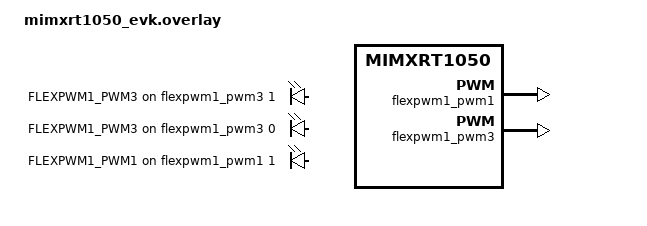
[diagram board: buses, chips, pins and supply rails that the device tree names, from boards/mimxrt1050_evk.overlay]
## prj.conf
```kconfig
CONFIG_PRINTK=y
CONFIG_SHELL=y
CONFIG_KERNEL_SHELL=y
CONFIG_THREAD_MONITOR=y
CONFIG_INIT_STACKS=y
CONFIG_THREAD_NAME=y
CONFIG_DEVICE_SHELL=y
CONFIG_BOOT_BANNER=n
CONFIG_LOG=y
CONFIG_PWM=y
CONFIG_SPI=y
CONFIG_MAX7219=y
CONFIG_DISPLAY=y
```

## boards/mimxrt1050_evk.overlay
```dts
/ {
    pwnleds {
        compatible = "pwm-leds";
        r_led_pwm: pwm_r {
            pwms = <&flexpwm1_pwm3 1>;
            label = "FLEXPWM1_PWM3";
        };
        g_led_pwm: pwm_g {
            pwms = <&flexpwm1_pwm3 0>;
            label = "FLEXPWM1_PWM3";
        };
        b_led_pwm: pwm_b {
            pwms = <&flexpwm1_pwm1 1>;
            label = "FLEXPWM1_PWM1";
        };
    };
 };

&flexpwm1_pwm1 {
    status = "okay";
};

&flexpwm1_pwm3 {
    status = "okay";
};

&lpspi1 {
    status = "disabled";
    maxdisplay: mymax@0 {
        compatible = "maxim,max7219";
        status = "okay";
        height = <8>;
        width  = <8>;
        spi-max-frequency = <10000000>;
        label = "maxim_max7219";
        reg = <0>;
    };
};
```

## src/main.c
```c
/*
 *  Assignment2: RTES CSE 522
 *  Done By: Hrishikeh Dadhich
 *  ASU ID: 1222306930
 */

#include <zephyr.h>
#include <device.h>
#include <devicetree.h>
#include <drivers/gpio.h>
#include <sys/util.h>
#include <sys/printk.h>
#include <shell/shell.h>
#include <shell/shell_uart.h>
#include <version.h>
#include <stdlib.h>
#include <drivers/pwm.h>
#include <devicetree/pwms.h>
#include <fsl_iomuxc.h>
#include <drivers/display.h>
#include <drivers/spi.h>

#define DISP_NODE DT_PROP(DT_NODELABEL(maxdisplay), label)

/*  Flag to blink display driver    */
bool blink_flag = false;

/*  Data input array for lebm command   */
uint8_t input[8];
uint16_t input_16[8];  

/*  Init array to configure the display matrix  */
uint16_t init_array[5] = {0x0f00, 0x0900, 0x0a0f, 0x0b07, 0x0c01};
/*  Clear array to erase the display matrix */
uint16_t clear_array[8] = {0x0100, 0x0200,0x0300,0x0400,0x0500,0x0600,0x0700,0x0800};

struct spi_buf tx;
struct spi_buf_set tx_bufs;

/*  Pointers to device drivers  */
const struct device *pwmb0 = NULL;
const struct device *pwmb1 = NULL;
const struct device *max_display = NULL;

#define DEBUG 

#if defined(DEBUG) 
	#define DPRINTK(fmt, args...) printk("DEBUG: %s():%d: " fmt, \
   		 __func__, __LINE__, ##args)
#else
 	#define DPRINTK(fmt, args...) /* do nothing if not defined*/
#endif

/*  PWM Settings    */
#define LED_PWM_RED DT_NODELABEL(r_led_pwm)

#define LED0_LABEL DT_PROP(LED_PWM_RED, label)
#define LED0_CH  DT_PWMS_CHANNEL(LED_PWM_RED)

#define LED_PWM_GREEN DT_NODELABEL(g_led_pwm)

#define LED1_LABEL DT_PROP(LED_PWM_GREEN, label)
#define LED1_CH  DT_PWMS_CHANNEL(LED_PWM_GREEN)

#define LED_PWM_BLUE DT_NODELABEL(b_led_pwm)

#define LED2_LABEL DT_PROP(LED_PWM_BLUE, label)
#define LED2_CH  DT_PWMS_CHANNEL(LED_PWM_BLUE)

/*  Function to set IOMUX for SPI Pins  */
void set_iomux_spi()
{
    /*  SPI */
    /*  SPI CS */
	IOMUXC_SetPinMux(IOMUXC_GPIO_SD_B0_01_LPSPI1_PCS0, 0);

	IOMUXC_SetPinConfig(IOMUXC_GPIO_SD_B0_01_LPSPI1_PCS0,
			    IOMUXC_SW_PAD_CTL_PAD_PUE(1) |
			    IOMUXC_SW_PAD_CTL_PAD_PKE_MASK |
			    IOMUXC_SW_PAD_CTL_PAD_SPEED(2) |
			    IOMUXC_SW_PAD_CTL_PAD_DSE(6));
    /*  SPI OUT */
	IOMUXC_SetPinMux(IOMUXC_GPIO_SD_B0_02_LPSPI1_SDO, 0);

	IOMUXC_SetPinConfig(IOMUXC_GPIO_SD_B0_02_LPSPI1_SDO,
			    IOMUXC_SW_PAD_CTL_PAD_PUE(1) |
			    IOMUXC_SW_PAD_CTL_PAD_PKE_MASK |
			    IOMUXC_SW_PAD_CTL_PAD_SPEED(2) |
			    IOMUXC_SW_PAD_CTL_PAD_DSE(6));
    /*  SPI CLK */
	IOMUXC_SetPinMux(IOMUXC_GPIO_SD_B0_00_LPSPI1_SCK, 0);

	IOMUXC_SetPinConfig(IOMUXC_GPIO_SD_B0_00_LPSPI1_SCK,
			    IOMUXC_SW_PAD_CTL_PAD_PUE(1) |
			    IOMUXC_SW_PAD_CTL_PAD_PKE_MASK |
			    IOMUXC_SW_PAD_CTL_PAD_SPEED(2) |
			    IOMUXC_SW_PAD_CTL_PAD_DSE(6));

}

/*  Function to set configure max7219 display driver    */
void config_display_driver()
{
    const struct display_driver_api *api = (struct display_driver_api *)max_display->api;
    
    api->write(max_display, 0, 5, NULL, (void *)init_array);
}

/*  Function to clear max7219 display driver    */
void clear_display_matrix()
{
    const struct display_driver_api *api = (struct display_driver_api *)max_display->api;
    
    api->write(max_display, 0, 8, NULL, (void *)clear_array);
}

/*  Function to set IOMUX for PWM Pins  */
void set_iomux_pwm()
{
    /* FOR PWM */
    /*  RED */
	IOMUXC_SetPinMux(IOMUXC_GPIO_AD_B0_11_FLEXPWM1_PWMB03, 0);

	IOMUXC_SetPinConfig(IOMUXC_GPIO_AD_B0_11_FLEXPWM1_PWMB03,
			    IOMUXC_SW_PAD_CTL_PAD_PUE(1) |
			    IOMUXC_SW_PAD_CTL_PAD_PKE_MASK |
			    IOMUXC_SW_PAD_CTL_PAD_SPEED(2) |
			    IOMUXC_SW_PAD_CTL_PAD_DSE(6));

	IOMUXC_SetPinMux(IOMUXC_GPIO_AD_B0_10_FLEXPWM1_PWMA03, 0);

    /*  Green    */
	IOMUXC_SetPinConfig(IOMUXC_GPIO_AD_B0_10_FLEXPWM1_PWMA03,
			    IOMUXC_SW_PAD_CTL_PAD_PUE(1) |
			    IOMUXC_SW_PAD_CTL_PAD_PKE_MASK |
			    IOMUXC_SW_PAD_CTL_PAD_SPEED(2) |
			    IOMUXC_SW_PAD_CTL_PAD_DSE(6));

    /*  Blue    */
	IOMUXC_SetPinMux(IOMUXC_GPIO_SD_B0_03_FLEXPWM1_PWMB01, 0);

	IOMUXC_SetPinConfig(IOMUXC_GPIO_SD_B0_03_FLEXPWM1_PWMB01,
			    IOMUXC_SW_PAD_CTL_PAD_PUE(1) |
			    IOMUXC_SW_PAD_CTL_PAD_PKE_MASK |
			    IOMUXC_SW_PAD_CTL_PAD_SPEED(2) |
			    IOMUXC_SW_PAD_CTL_PAD_DSE(6));


}

/*  Function to test RGB using PWM  */
void test_rgb_pwm()
{
    int count = 0;
    int ret = 0;
    /*  RED */
    while (count <= 100)
    {
        ret = pwm_pin_set_cycles(pwmb0, LED0_CH, 100, count, PWM_POLARITY_NORMAL);
        if (ret != 0)
        {
            DPRINTK("Error in setting cycles, ret = %d\r\n", ret);
        }
        count = count + 20;
        k_msleep(500);
    }
    ret = pwm_pin_set_cycles(pwmb0, LED0_CH, 100, 0, PWM_POLARITY_NORMAL);
    if (ret != 0)
    {
        DPRINTK("Error in setting cycles, ret = %d\r\n", ret);
    }
    count = 0;
    /*  Green */
    while (count <= 100)
    {
        ret = pwm_pin_set_cycles(pwmb0, LED1_CH, 100, count, PWM_POLARITY_NORMAL);
        if (ret != 0)
        {
            DPRINTK("Error in setting cycles, ret = %d\r\n", ret);
        }
        count = count + 20;
        k_msleep(500);
    }
    ret = pwm_pin_set_cycles(pwmb0, LED1_CH, 100, 0, PWM_POLARITY_NORMAL);
    if (ret != 0)
    {
        DPRINTK("Error in setting cycles, ret = %d\r\n", ret);
    }
    count = 0;
    /*  Blue */
    while (count <= 100)
    {
        ret = pwm_pin_set_cycles(pwmb1, LED2_CH, 100, count, PWM_POLARITY_NORMAL);
        if (ret != 0)
        {
            DPRINTK("Error in setting cycles, ret = %d\r\n", ret);
        }
        count = count + 20;
        k_msleep(500);
    }
    ret = pwm_pin_set_cycles(pwmb1, LED2_CH, 100, 0, PWM_POLARITY_NORMAL);
    if (ret != 0)
    {
        DPRINTK("Error in setting cycles, ret = %d\r\n", ret);
    }
}

/*  Callback functioo for RGB   */
static int rgb(const struct shell *shell, size_t argc, char **argv)
{
	int input[3];
	int j = 1;
	for (int i = 0; i < argc - 1; i++)
	{
		input[i] = atoi(argv[j]);
		j++;
	}
    DPRINTK("%d %d %d\r\n", input[0], input[1], input[2]);
    pwm_pin_set_cycles(pwmb0, LED0_CH, 100, input[0], PWM_POLARITY_NORMAL);
    pwm_pin_set_cycles(pwmb0, LED1_CH, 100, input[1], PWM_POLARITY_NORMAL);
    pwm_pin_set_cycles(pwmb1, LED2_CH, 100, input[2], PWM_POLARITY_NORMAL);
    return 0;
}

/*  Callback functioo for LEDM   */
static int ledm(const struct shell *shell, size_t argc, char **argv)
{
    const struct display_driver_api *api = (struct display_driver_api *)max_display->api;
	int j = 2;
	int row = strtol(argv[1], NULL, 16);
    /*  Increment row as user input is 0 index  */
    row++;
    /*  Parse the command line and convert string to integer    */
	for (int i = 0; i < argc - 2; i++)
	{
		input[i] = (int)strtol(argv[j], NULL, 16);
        j++;
	}
    /*  Merge row and data: 0x<row><val>    */
    for (int i = 0; i < argc - 2; i++)
    {
        input_16[i] = 0;
        input_16[i] = input_16[i] | (row + i);
        input_16[i] = input_16[i] << 8;
        input_16[i] = input_16[i] | input[i];
    }
    api->write(max_display, row, argc - 2, NULL, (void *)input_16);
    return 0;
}

/*  Callback functioo for LEDB   */
static int ledb(const struct shell *shell, size_t argc, char **argv)
{
    const struct display_driver_api *api = (struct display_driver_api *)max_display->api;
	int input = atoi(argv[1]);
	if (input == 1)
	{
        /*  Set global flag to start the blinking   */
        blink_flag = true;
	}
	else
	{
        /*  Un-set global flag to stop the blinking   */
        blink_flag = false;
        api->blanking_off(max_display);
	}
    return 0;
}

/*  Creating subcommands (level 1 command) array for command p2    */
SHELL_STATIC_SUBCMD_SET_CREATE(
	sub_cmd,
	SHELL_CMD(rgb, NULL, "PWM Led Intensity command.", rgb),
	SHELL_CMD(ledm, NULL, "Turning on LED matrix command.", ledm),
	SHELL_CMD(ledb, NULL, "Blinking the pattern on Matrix", ledb),
	SHELL_SUBCMD_SET_END);

/*  Creating root (level 0) command "p2" without a handler  */
SHELL_CMD_REGISTER(p2, &sub_cmd, "List of commands", NULL);

void main(void)
{

    set_iomux_spi();
    /*  DISPLAY binding */
    DPRINTK("Module name is %s\r\n", DISP_NODE);
	max_display=device_get_binding(DISP_NODE);
	if (!max_display) {
		DPRINTK("error 1\n");
		return;
	}
    config_display_driver();
    clear_display_matrix();
    
    set_iomux_pwm();
    
    /*  Red and Green PWM    */
    pwmb0=device_get_binding(LED0_LABEL);
	if (!pwmb0) {
		DPRINTK("error 2\n");
		return;
	}
    /*  Blue PWM    */
	pwmb1=device_get_binding(LED2_LABEL);
	if (!pwmb1) {
		DPRINTK("error 3\n");
		return;
	}
    /*  Unit test for PWM LED   */
    //test_rgb_pwm();
    
    /*  Seperate blinking loop so that uart loop keep on working for more input */
    const struct display_driver_api *api = (struct display_driver_api *)max_display->api;
    while (1)
    {
        bool flag = true;
        while (blink_flag)
        {
            if (flag)
                api->blanking_on(max_display);
            else
                api->blanking_off(max_display);
            k_msleep(1000);
            flag = !flag;
        }
        k_msleep(100);
    }
    return;
}
```
